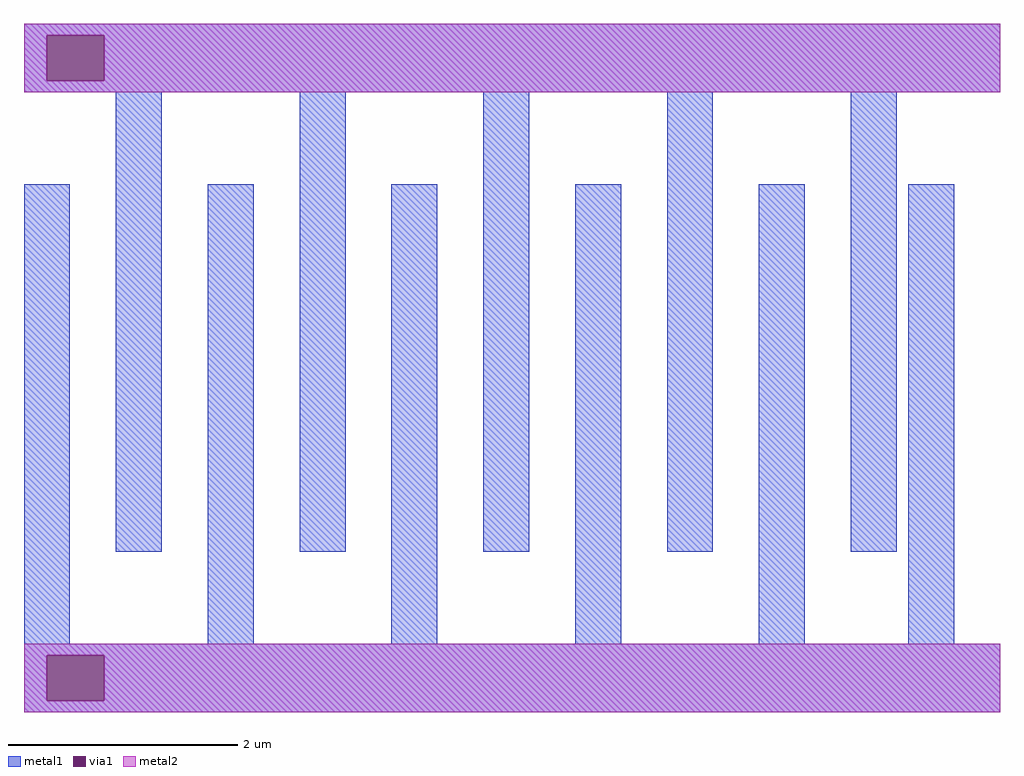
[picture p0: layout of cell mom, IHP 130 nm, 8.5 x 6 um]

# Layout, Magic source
magic
tech ihp-sg13g2
<< metal1 >>
rect 0 590 850 600
rect 0 550 20 590
rect 70 550 850 590
rect 0 540 850 550
rect 0 60 40 460
rect 80 140 120 540
rect 160 60 200 460
rect 240 140 280 540
rect 320 60 360 460
rect 400 140 440 540
rect 480 60 520 460
rect 560 140 600 540
rect 640 60 680 460
rect 720 140 760 540
rect 770 60 810 460
rect 0 50 850 60
rect 0 10 20 50
rect 70 10 850 50
rect 0 0 850 10
<< via1 >>
rect 20 550 70 590
rect 20 10 70 50
<< metal2 >>
rect 0 590 850 600
rect 0 550 20 590
rect 70 550 850 590
rect 0 540 850 550
rect 0 50 850 60
rect 0 10 20 50
rect 70 10 850 50
rect 0 0 850 10
<< end >>
